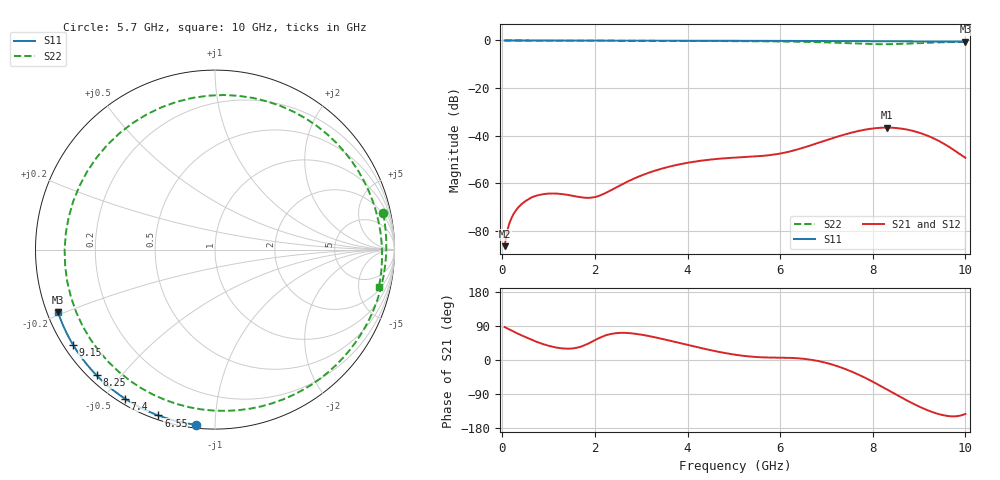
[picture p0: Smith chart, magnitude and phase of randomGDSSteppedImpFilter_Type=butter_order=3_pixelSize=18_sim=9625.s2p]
! freq	dB(S11)	phase(S11)	dB(S12)	phase(S12)
!  dB(S21)	phase(S21)	dB(S22)	phase(S22)
!S-par simulation data
#  GHz  S  DB  R 50
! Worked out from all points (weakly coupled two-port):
!   200 points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, 50 MHz to 10 GHz, reference 50 ohm
!   highest |S21| = -36.57 dB at 8.3 GHz (marker M1); lowest = -86.3 dB at 50 MHz (marker M2)
!   lowest |S11| = -0.5 dB at 10 GHz (marker M3), VSWR 33.19, Z = 1.56 - j9.56 ohm
!   |S11| at or under -10 dB: nowhere
!   |S22| runs from -1.6 to 0.0 dB; largest |S21 - S12| = 0
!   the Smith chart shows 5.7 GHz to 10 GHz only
!   S11 on the Smith chart (normalised r, x): 5.7 GHz: 0.02, -0.90; 6.55 GHz: 0.02, -0.72; 7.4 GHz: 0.02, -0.56; 8.25 GHz: 0.02, -0.43; 9.15 GHz: 0.03, -0.31; 10 GHz: 0.03, -0.19
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0.05  -0.00 -0.9  -86.34 86.9  -86.34 86.9  -0.00 -5.4
0.35  -0.01 -6.4  -69.98 68.7  -69.98 68.7  -0.05 -36.8
0.8  -0.02 -14.6  -64.83 45.4  -64.83 45.4  -0.09 -79.5
1.2  -0.03 -21.8  -64.31 32.1  -64.31 32.1  -0.12 -111.6
1.75  -0.04 -31.6  -65.95 37.6  -65.95 37.6  -0.13 -148.1
2.5  -0.06 -44.7  -61.26 71.3  -61.26 71.3  -0.15 171.1
3.4  -0.08 -59.9  -54.05 57.2  -54.05 57.2  -0.18 127.8
4.25  -0.10 -73.8  -50.58 32.7  -50.58 32.7  -0.22 87.5
5.05  -0.13 -86.3  -49.15 13.5  -49.15 13.5  -0.28 47.4
5.7  -0.16 -96.3  -48.30 6.7  -48.30 6.7  -0.37 12.1
6.55  -0.21 -108.9  -44.72 2.6  -44.72 2.6  -0.59 -40.4
6.7  -0.22 -111.0  -43.78 0.1  -43.78 0.1  -0.66 -50.9
7.1  -0.24 -116.8  -41.22 -11.1  -41.22 -11.1  -0.87 -81.7
7.4  -0.26 -121.1  -39.44 -23.5  -39.44 -23.5  -1.09 -108.3
7.9  -0.30 -128.3  -37.22 -51.0  -37.22 -51.0  -1.46 -161.7
8.25  -0.34 -133.3  -36.58 -74.0  -36.58 -74.0  -1.57 154.8
8.3  -0.34 -134.0  -36.57 -77.4  -36.57 -77.4  -1.57 148.4
8.35  -0.34 -134.7  -36.58 -80.8  -36.58 -80.8  -1.56 142.0
8.75  -0.38 -140.3  -37.44 -107.6  -37.44 -107.6  -1.33 92.7
9.15  -0.42 -146.0  -39.73 -130.9  -39.73 -130.9  -0.99 50.6
9.55  -0.47 -151.8  -43.51 -146.4  -43.51 -146.4  -0.73 17.0
10  -0.52 -158.3  -49.24 -142.2  -49.24 -142.2  -0.57 -12.9
